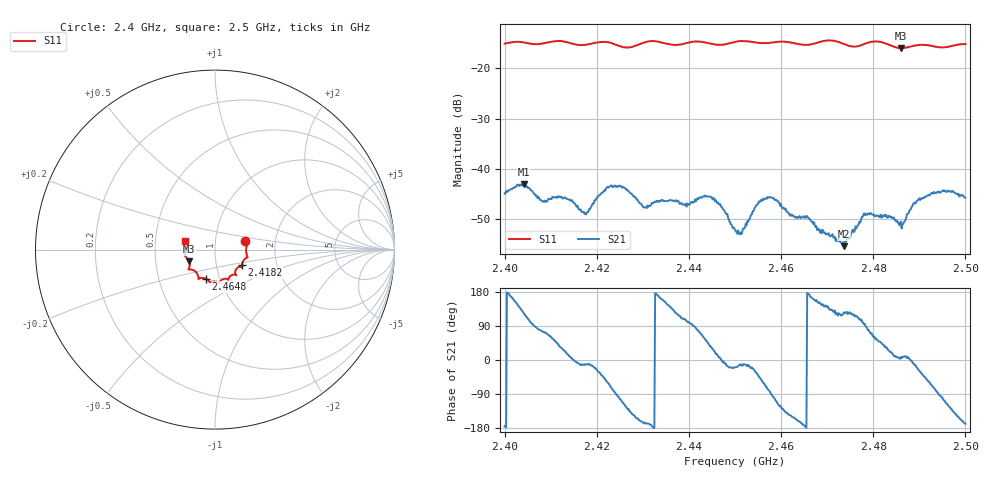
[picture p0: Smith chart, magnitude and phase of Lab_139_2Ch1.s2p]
# Hz S RI R 50
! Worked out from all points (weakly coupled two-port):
!   601 points, 2.4 GHz to 2.5 GHz, reference 50 ohm
!   highest |S21| = -43.08 dB at 2.4042 GHz (marker M1); lowest = -55.3 dB at 2.4737 GHz (marker M2)
!   lowest |S11| = -16.0 dB at 2.486 GHz (marker M3), VSWR 1.38, Z = 37.1 - j4.98 ohm
!   |S11| at or under -10 dB: start of sweep to end of sweep
!   S12 and S22 are empty: the file has one direction only
!   S11 on the Smith chart (normalised r, x): 2.4 GHz: 1.40, +0.13; 2.4182 GHz: 1.33, -0.23; 2.4648 GHz: 0.86, -0.29; 2.5 GHz: 0.71, +0.07
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2.4e9  0.1689 0.046  -0.00565 -0.000541  0 0  0 0
2.404167e9  0.1784 0.0258  -0.00387 0.00585  0 0  0 0
2.408167e9  0.1747 -0.018  0.00122 0.00465  0 0  0 0
2.416667e9  0.1551 -0.0682  0.00368 -0.000821  0 0  0 0
2.418167e9  0.1499 -0.085  0.0037 -0.000668  0 0  0 0
2.4235e9  0.1463 -0.0971  0.00126 -0.00646  0 0  0 0
2.430333e9  0.1148 -0.1388  -0.00406 -0.000888  0 0  0 0
2.433333e9  0.1168 -0.1413  -0.00474 0.000913  0 0  0 0
2.444333e9  0.0664 -0.1636  0.004 0.00349  0 0  0 0
2.45e9  0.0253 -0.1808  0.00232 -0.000809  0 0  0 0
2.4515e9  0.0219 -0.1848  0.0022 -0.000602  0 0  0 0
2.454833e9  0.00869 -0.1789  0.0035 -0.00269  0 0  0 0
2.4575e9  -0.0141 -0.1778  0.000774 -0.00523  0 0  0 0
2.464833e9  -0.0512 -0.163  -0.00333 -0.000572  0 0  0 0
2.466667e9  -0.0713 -0.1575  -0.00286 0.000824  0 0  0 0
2.473667e9  -0.0941 -0.1459  -0.000996 0.00139  0 0  0 0
2.478e9  -0.133 -0.1112  -0.000262 0.00361  0 0  0 0
2.483333e9  -0.1421 -0.096  0.00301 0.00141  0 0  0 0
2.486e9  -0.1438 -0.0653  0.00297 0.000398  0 0  0 0
2.489167e9  -0.1634 -0.0401  0.00442 -0.00104  0 0  0 0
2.492833e9  -0.1644 -0.0207  0.00202 -0.0054  0 0  0 0
2.5e9  -0.1669 0.047  -0.00506 -0.00103  0 0  0 0
